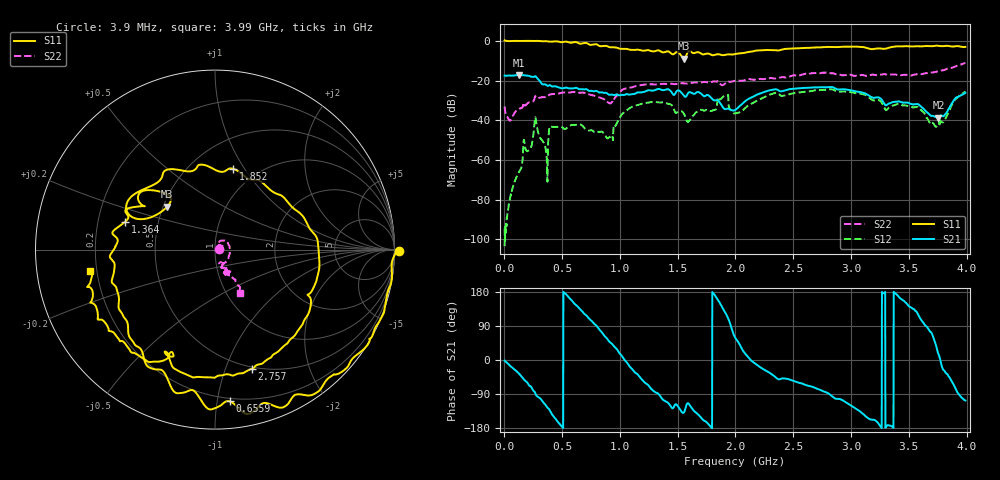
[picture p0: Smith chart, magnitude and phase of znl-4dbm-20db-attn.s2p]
#  HZ  S  RI  R  50.00
! Rohde & Schwarz Vector Network Analyzer
! Rohde-Schwarz,ZNL20-2Port,1323001220101312,1.72.1.6-23.02.1.246
! Created: UTC 10/23/2024, 6:33:34 PM
! freq[Hz]  re:S11  im:S11  re:S21  im:S21  re:S12  im:S12  re:S22  im:S22
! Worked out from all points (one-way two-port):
!   2000 points, 3.9 MHz to 3.99 GHz, reference 50 ohm
!   highest |S21| = -17.17 dB at 129.5 MHz (marker M1); lowest = -38.7 dB at 3.756 GHz (marker M2)
!   lowest |S11| = -8.9 dB at 1.557 GHz (marker M3), VSWR 2.12, Z = 26.2 + j14.4 ohm
!   |S11| at or under -10 dB: nowhere
!   |S22| runs from -40.2 to -11.0 dB; largest |S21 - S12| = 0.14
!   S11 on the Smith chart (normalised r, x): 3.9 MHz: -71, -22; 655.9 MHz: 0.18, -1.09; 1.364 GHz: 0.32, +0.14; 1.852 GHz: 0.78, +0.89; 2.757 GHz: 0.48, -1.24; 3.99 GHz: 0.17, -0.08
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3900000  1.026 -0.00801  0.1339 -0.00409  -3.56e-06 5.77e-06  0.0221 0.00132
1.295155e8  0.9616 -0.2383  0.1115 -0.0822  -0.000168 0.000478  0.0142 0.0133
2.730761e8  0.8605 -0.4983  -0.00165 -0.1279  -0.00372 -0.0101  0.0338 0.0203
3.608076e8  0.7204 -0.6708  -0.0391 -0.0686  -0.00157 0.000852  0.0334 0.02
4.086611e8  0.6282 -0.7194  -0.0562 -0.0462  -0.00689 -0.00118  0.0407 0.0208
6.559043e8  0.0822 -0.8455  -0.0423 0.0435  -0.00461 0.00642  0.0484 0.0108
6.698616e8  0.0526 -0.8509  -0.0392 0.0466  -0.00376 0.00656  0.0489 0.00965
9.051414e8  -0.4025 -0.5781  0.0285 0.0339  0.00366 -0.000282  0.0237 0.0143
1.080604e9  -0.5349 -0.2849  0.0427 -0.0118  0.000325 -0.0198  0.043 0.0498
1.333829e9  -0.5705 0.0986  0.000975 -0.0619  -0.0251 -0.0128  0.0773 0.0258
1.363738e9  -0.5003 0.1555  -0.0114 -0.0569  -0.0264 -0.0101  0.0808 0.0196
1.557146e9  -0.2665 0.2396  -0.0303 -0.0278  -0.00612 0.013  0.0803 -0.0282
1.852242e9  0.0998 0.4504  -0.0287 0.0119  -0.0174 0.031  0.0292 -0.0877
1.918041e9  0.2264 0.3894  -0.0102 0.0162  0.0306 -0.0296  0.0429 -0.0744
1.997797e9  0.3473 0.3097  0.00927 0.0157  0.00864 -0.0122  0.0353 -0.0925
2.253016e9  0.5819 -0.0851  0.0468 -0.0232  0.0305 -0.0237  0.0435 -0.101
2.661765e9  0.3099 -0.6024  0.0225 -0.0632  0.0227 -0.0498  0.0792 -0.1317
2.757472e9  0.2048 -0.6643  0.00952 -0.0677  0.0136 -0.0569  0.0756 -0.1395
3.325732e9  -0.2733 -0.6115  -0.0261 -0.00356  -0.0197 -0.0059  0.0583 -0.1278
3.576963e9  -0.5335 -0.5028  -0.0136 0.0218  -0.0136 0.0172  0.0635 -0.1322
3.756414e9  -0.6522 -0.3709  0.0111 0.0032  0.00672 0.00292  0.0897 -0.145
3.9897e9  -0.6964 -0.1206  -0.0143 -0.0471  -0.0133 -0.0515  0.1391 -0.2443
